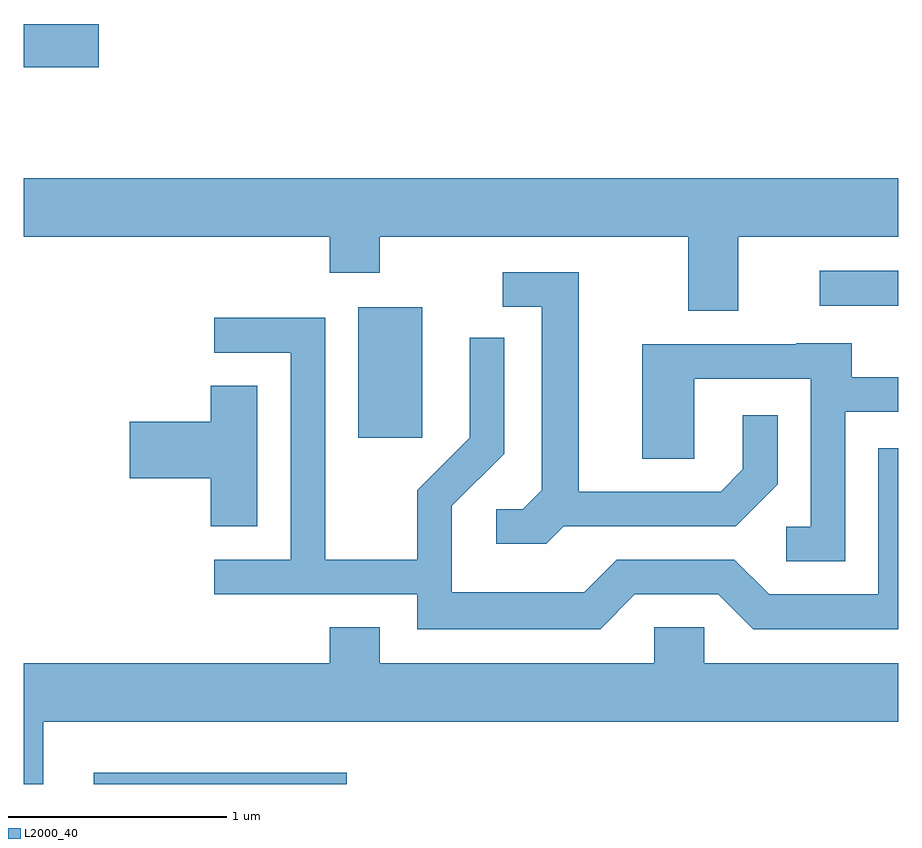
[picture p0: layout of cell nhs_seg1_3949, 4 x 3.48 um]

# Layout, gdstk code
import gdstk
lib = gdstk.Library(unit=1e-6, precision=1e-09)
def R(c, l, rs):  # rectangles x0, y0, x1, y1
    for r in rs: c.add(gdstk.rectangle(r[:2], r[2:], *l))
def P(c, l, *ps):  # polygons
    for p in ps: c.add(gdstk.Polygon(p, *l))
L2000_40 = (2000, 40)

nhs_seg1_3949 = lib.new_cell('nhs_seg1_3949')
R(nhs_seg1_3949, L2000_40, [(303.931,923.712,305.088,923.764), (305.141,925.296,305.434,925.894), (307.253,925.901,307.611,926.059), (303.611,926.991,303.954,927.189)])
P(nhs_seg1_3949, L2000_40, [(306.879,926.216),(307.611,926.216),(307.611,926.484),(303.611,926.484),(303.611,926.216),(305.011,926.216),(305.011,926.051),(305.239,926.051),(305.239,926.216),(306.651,926.216),(306.651,925.876),(306.879,925.876)],
  [(306.082,924.891),(306.867,924.891),(307.059,925.084),(307.059,925.398),(306.901,925.398),(306.901,925.152),(306.799,925.049),(306.149,925.049),(306.149,926.054),(305.803,926.054),(305.803,925.896),(305.981,925.896),(305.981,925.057),(305.894,924.969),(305.773,924.969),(305.773,924.811),(306.002,924.811)],
  [(306.407,924.581),(306.789,924.581),(306.949,924.421),(307.611,924.421),(307.611,925.249),(307.521,925.249),(307.521,924.579),(307.022,924.579),(306.862,924.739),(306.324,924.739),(306.174,924.589),(305.569,924.589),(305.569,924.984),(305.809,925.224),(305.809,925.753),(305.651,925.753),(305.651,925.297),(305.411,925.057),(305.411,924.739),(304.989,924.739),(304.989,925.844),(304.483,925.844),(304.483,925.686),(304.831,925.686),(304.831,924.739),(304.483,924.739),(304.483,924.581),(305.411,924.581),(305.411,924.421),(306.247,924.421)],
  [(307.369,925.416),(307.611,925.416),(307.611,925.574),(307.399,925.574),(307.399,925.729),(307.145,925.729),(307.145,925.724),(306.441,925.724),(306.441,925.201),(306.679,925.201),(306.679,925.566),(307.211,925.566),(307.211,924.889),(307.098,924.889),(307.098,924.731),(307.369,924.731)],
  [(304.679,925.534),(304.466,925.534),(304.466,925.369),(304.096,925.369),(304.096,925.111),(304.466,925.111),(304.466,924.891),(304.679,924.891)],
  [(303.699,923.996),(307.611,923.996),(307.611,924.264),(306.724,924.264),(306.724,924.429),(306.496,924.429),(306.496,924.264),(305.239,924.264),(305.239,924.429),(305.011,924.429),(305.011,924.264),(303.611,924.264),(303.611,923.712),(303.699,923.712)])

lib.write_gds('nhs_seg1_3949.gds')
